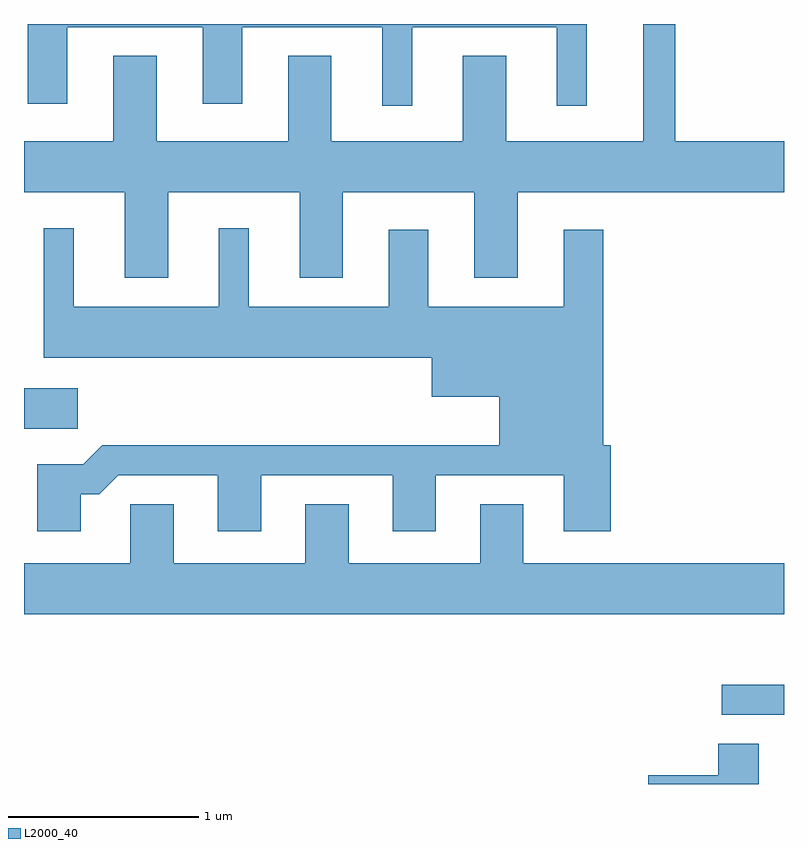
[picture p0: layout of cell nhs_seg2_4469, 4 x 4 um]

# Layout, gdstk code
import gdstk
lib = gdstk.Library(unit=1e-6, precision=1e-09)
def R(c, l, rs):  # rectangles x0, y0, x1, y1
    for r in rs: c.add(gdstk.rectangle(r[:2], r[2:], *l))
def P(c, l, *ps):  # polygons
    for p in ps: c.add(gdstk.Polygon(p, *l))
L2000_40 = (2000, 40)

nhs_seg2_4469 = lib.new_cell('nhs_seg2_4469')
R(nhs_seg2_4469, L2000_40, [(319.283,1112.166,319.611,1112.324), (315.611,1113.671,315.894,1113.884)])
P(nhs_seg2_4469, L2000_40, [(316.369,1114.916),(317.061,1114.916),(317.061,1114.466),(317.289,1114.466),(317.289,1114.916),(317.981,1114.916),(317.981,1114.466),(318.209,1114.466),(318.209,1114.916),(319.611,1114.916),(319.611,1115.184),(319.039,1115.184),(319.039,1115.802),(318.871,1115.802),(318.871,1115.184),(318.149,1115.184),(318.149,1115.634),(317.921,1115.634),(317.921,1115.184),(317.229,1115.184),(317.229,1115.634),(317.001,1115.634),(317.001,1115.184),(316.309,1115.184),(316.309,1115.634),(316.081,1115.634),(316.081,1115.184),(315.611,1115.184),(315.611,1114.916),(316.141,1114.916),(316.141,1114.466),(316.369,1114.466)],
  [(317.654,1115.786),(318.416,1115.786),(318.416,1115.373),(318.574,1115.373),(318.574,1115.802),(315.631,1115.802),(315.631,1115.381),(315.839,1115.381),(315.839,1115.786),(316.551,1115.786),(316.551,1115.381),(316.759,1115.381),(316.759,1115.786),(317.496,1115.786),(317.496,1115.373),(317.654,1115.373)],
  [(315.909,1113.326),(316.007,1113.326),(316.107,1113.426),(316.631,1113.426),(316.631,1113.131),(316.859,1113.131),(316.859,1113.426),(317.551,1113.426),(317.551,1113.131),(317.779,1113.131),(317.779,1113.426),(318.451,1113.426),(318.451,1113.131),(318.699,1113.131),(318.699,1113.584),(318.659,1113.584),(318.659,1114.719),(318.451,1114.719),(318.451,1114.314),(317.739,1114.314),(317.739,1114.719),(317.531,1114.719),(317.531,1114.314),(316.794,1114.314),(316.794,1114.728),(316.636,1114.728),(316.636,1114.314),(315.874,1114.314),(315.874,1114.728),(315.716,1114.728),(315.716,1114.046),(317.756,1114.046),(317.756,1113.841),(318.111,1113.841),(318.111,1113.584),(316.024,1113.584),(315.924,1113.484),(315.681,1113.484),(315.681,1113.131),(315.909,1113.131)],
  [(319.611,1112.964),(318.239,1112.964),(318.239,1113.274),(318.011,1113.274),(318.011,1112.964),(317.319,1112.964),(317.319,1113.274),(317.091,1113.274),(317.091,1112.964),(316.399,1112.964),(316.399,1113.274),(316.171,1113.274),(316.171,1112.964),(315.611,1112.964),(315.611,1112.696),(319.611,1112.696)],
  [(319.479,1112.014),(319.266,1112.014),(319.266,1111.849),(318.896,1111.849),(318.896,1111.802),(319.479,1111.802)])

lib.write_gds('nhs_seg2_4469.gds')
